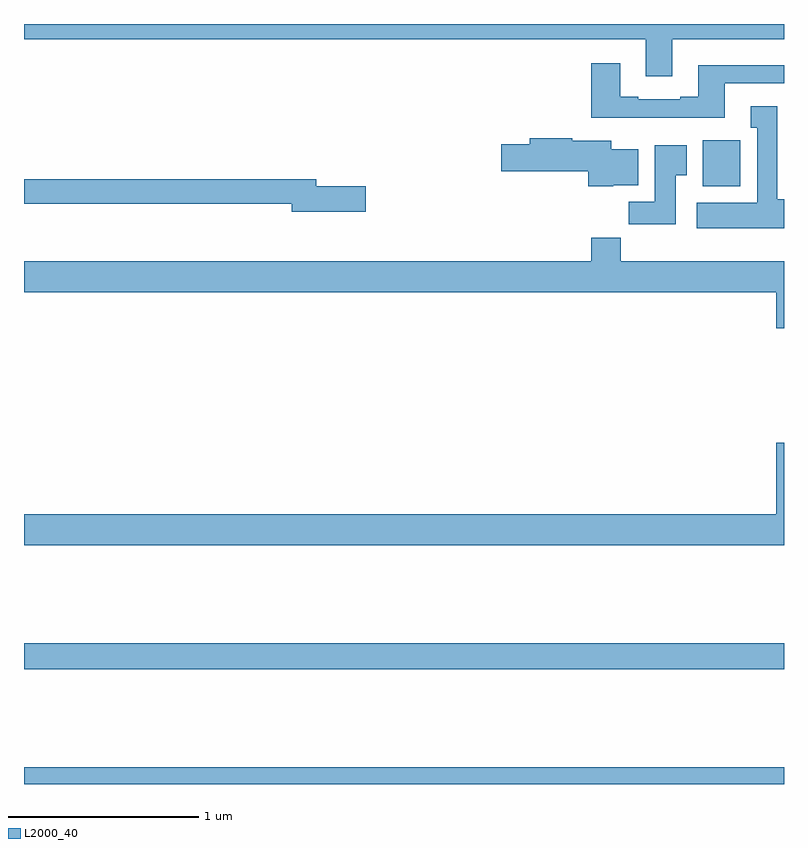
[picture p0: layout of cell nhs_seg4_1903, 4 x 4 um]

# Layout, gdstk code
import gdstk
lib = gdstk.Library(unit=1e-6, precision=1e-09)
def R(c, l, rs):  # rectangles x0, y0, x1, y1
    for r in rs: c.add(gdstk.rectangle(r[:2], r[2:], *l))
def P(c, l, *ps):  # polygons
    for p in ps: c.add(gdstk.Polygon(p, *l))
L2000_40 = (2000, 40)

nhs_seg4_1903 = lib.new_cell('nhs_seg4_1903')
R(nhs_seg4_1903, L2000_40, [(209,792.9,213,792.988), (209,793.504,213,793.64), (212.573,796.046,212.77,796.288)])
P(nhs_seg4_1903, L2000_40, [(212.413,796.82),(213,796.82),(213,796.9),(209,796.9),(209,796.82),(212.273,796.82),(212.273,796.626),(212.413,796.626)],
  [(212.689,796.587),(213,796.587),(213,796.684),(212.549,796.684),(212.549,796.516),(212.453,796.516),(212.453,796.503),(212.233,796.503),(212.233,796.516),(212.137,796.516),(212.137,796.693),(211.985,796.693),(211.985,796.406),(212.689,796.406)],
  [(213,795.978),(212.965,795.978),(212.965,796.468),(212.825,796.468),(212.825,796.355),(212.858,796.355),(212.858,795.958),(212.541,795.958),(212.541,795.824),(213,795.824)],
  [(212.1,796.052),(212.233,796.052),(212.233,796.24),(212.092,796.24),(212.092,796.285),(211.886,796.285),(211.886,796.298),(211.661,796.298),(211.661,796.268),(211.512,796.268),(211.512,796.126),(211.97,796.126),(211.97,796.046),(212.1,796.046)],
  [(212.431,796.105),(212.488,796.105),(212.488,796.261),(212.321,796.261),(212.321,795.964),(212.182,795.964),(212.182,795.846),(212.431,795.846)],
  [(210.799,796.046),(210.538,796.046),(210.538,796.082),(209,796.082),(209,795.954),(210.41,795.954),(210.41,795.911),(210.799,795.911)],
  [(213,795.652),(212.141,795.652),(212.141,795.776),(211.985,795.776),(211.985,795.652),(209,795.652),(209,795.488),(212.96,795.488),(212.96,795.3),(213,795.3)],
  [(213,794.695),(212.96,794.695),(212.96,794.32),(209,794.32),(209,794.156),(213,794.156)])

lib.write_gds('nhs_seg4_1903.gds')
